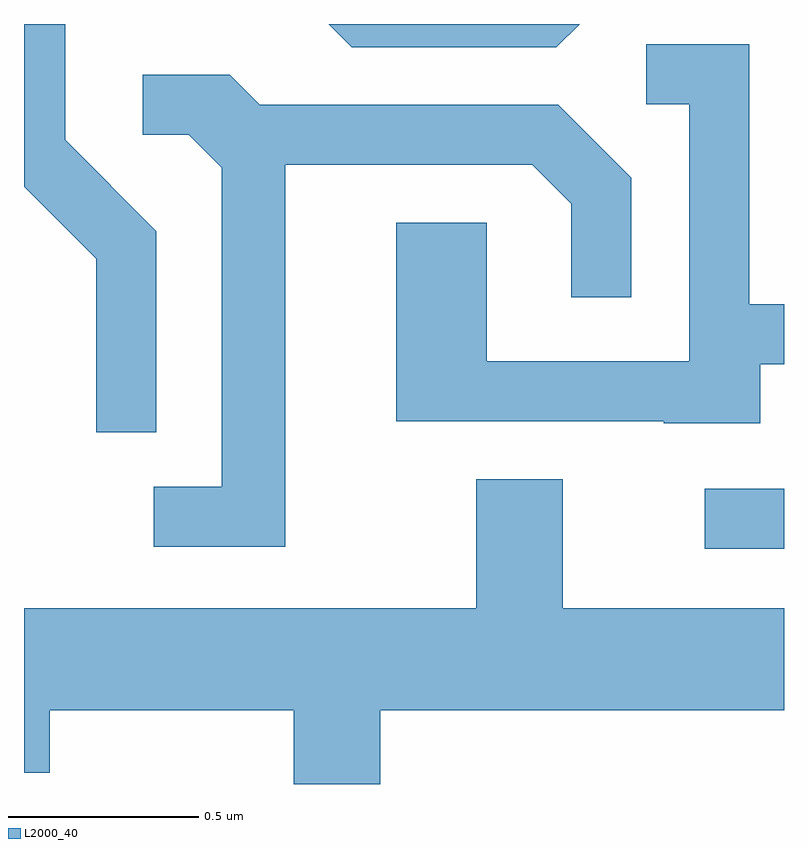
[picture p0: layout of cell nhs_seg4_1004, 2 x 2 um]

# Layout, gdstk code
import gdstk
lib = gdstk.Library(unit=1e-6, precision=1e-09)
def R(c, l, rs):  # rectangles x0, y0, x1, y1
    for r in rs: c.add(gdstk.rectangle(r[:2], r[2:], *l))
def P(c, l, *ps):  # polygons
    for p in ps: c.add(gdstk.Polygon(p, *l))
L2000_40 = (2000, 40)

nhs_seg4_1004 = lib.new_cell('nhs_seg4_1004')
R(nhs_seg4_1004, L2000_40, [(194.403,1299.601,194.611,1299.759)])
P(nhs_seg4_1004, L2000_40, [(192.959,1300.437),(192.719,1300.677),(192.719,1300.982),(192.611,1300.982),(192.611,1300.554),(192.801,1300.364),(192.801,1299.908),(192.959,1299.908)],
  [(194.073,1300.982),(193.413,1300.982),(193.474,1300.921),(194.012,1300.921)],
  [(194.549,1300.086),(194.611,1300.086),(194.611,1300.244),(194.519,1300.244),(194.519,1300.929),(194.248,1300.929),(194.248,1300.771),(194.361,1300.771),(194.361,1300.094),(193.829,1300.094),(193.829,1300.459),(193.591,1300.459),(193.591,1299.936),(194.295,1299.936),(194.295,1299.931),(194.549,1299.931)],
  [(193.299,1300.611),(193.949,1300.611),(194.051,1300.509),(194.051,1300.263),(194.209,1300.263),(194.209,1300.577),(194.017,1300.769),(193.232,1300.769),(193.152,1300.849),(192.923,1300.849),(192.923,1300.691),(193.044,1300.691),(193.131,1300.604),(193.131,1299.764),(192.953,1299.764),(192.953,1299.606),(193.299,1299.606)],
  [(193.549,1299.176),(194.611,1299.176),(194.611,1299.444),(194.029,1299.444),(194.029,1299.784),(193.801,1299.784),(193.801,1299.444),(192.611,1299.444),(192.611,1299.011),(192.679,1299.011),(192.679,1299.176),(193.321,1299.176),(193.321,1298.982),(193.549,1298.982)])

lib.write_gds('nhs_seg4_1004.gds')
